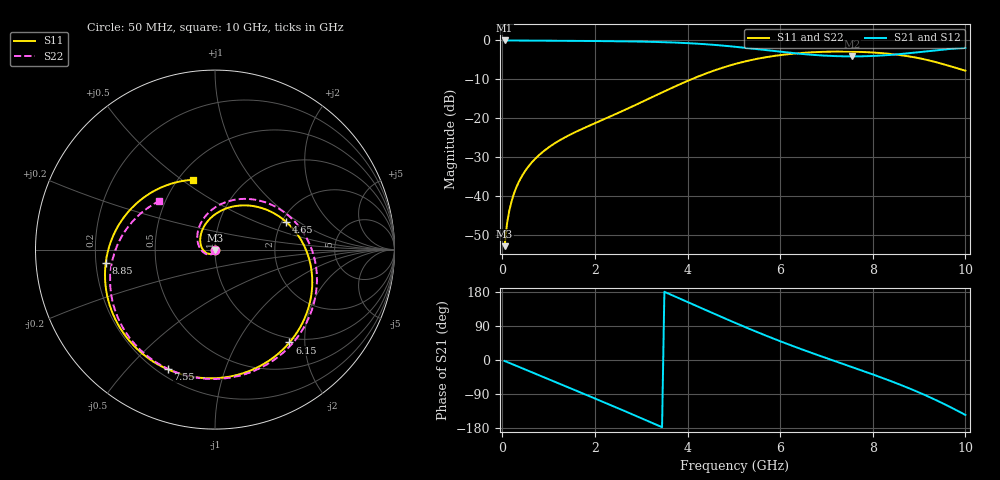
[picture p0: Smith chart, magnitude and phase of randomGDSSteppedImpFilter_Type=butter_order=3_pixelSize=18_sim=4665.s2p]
! freq	dB(S11)	phase(S11)	dB(S12)	phase(S12)
!  dB(S21)	phase(S21)	dB(S22)	phase(S22)
!S-par simulation data
#  GHz  S  DB  R 50
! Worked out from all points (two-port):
!   200 points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, 50 MHz to 10 GHz, reference 50 ohm
!   highest |S21| = 0.00 dB at 50 MHz (marker M1); lowest = -4.1 dB at 7.55 GHz (marker M2)
!   |S21| within 3 dB of the highest: start of sweep to 6.068 GHz; 9.009 GHz to end of sweep
!   lowest |S11| = -53.0 dB at 50 MHz (marker M3), VSWR 1.00, Z = 50 - j0.222 ohm
!   |S11| at or under -10 dB: start of sweep to 4.084 GHz
!   |S22| runs from -53.0 to -2.8 dB; largest |S21 - S12| = 0
!   S11 on the Smith chart (normalised r, x): 50 MHz: 1.00, -0.00; 4.65 GHz: 2.10, +0.80; 6.15 GHz: 0.92, -1.70; 7.55 GHz: 0.24, -0.65; 8.85 GHz: 0.24, -0.06; 10 GHz: 0.59, +0.55
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0.05  -52.98 -80.7  -0.00 -2.6  -0.00 -2.6  -52.99 -80.2
0.1  -47.34 -89.3  -0.01 -5.1  -0.01 -5.1  -47.33 -88.5
0.2  -41.43 -98.2  -0.02 -10.2  -0.02 -10.2  -41.41 -96.6
0.35  -36.59 -108.2  -0.03 -17.8  -0.03 -17.8  -36.58 -105.4
0.5  -33.51 -117.3  -0.04 -25.4  -0.04 -25.4  -33.51 -113.3
1.15  -26.36 -154.4  -0.08 -58.2  -0.08 -58.2  -26.39 -145.2
1.75  -22.64 172.5  -0.13 -88.8  -0.13 -88.8  -22.70 -174.1
2.1  -20.79 153.5  -0.16 -106.7  -0.16 -106.7  -20.86 168.8
2.5  -18.68 132.2  -0.21 -127.3  -0.21 -127.3  -18.76 148.7
2.95  -16.21 108.8  -0.29 -150.8  -0.29 -150.8  -16.28 125.2
3.4  -13.67 85.7  -0.41 -174.7  -0.41 -174.7  -13.73 101.1
3.95  -10.68 57.4  -0.66 155.8  -0.66 155.8  -10.72 70.9
4.65  -7.44 21.5  -1.21 118.1  -1.21 118.1  -7.46 32.4
5.05  -5.99 1.2  -1.66 96.9  -1.66 96.9  -6.00 11.0
5.6  -4.51 -25.7  -2.38 68.9  -2.38 68.9  -4.52 -17.2
6.15  -3.57 -51.3  -3.11 42.6  -3.11 42.6  -3.56 -43.5
6.7  -3.05 -75.4  -3.71 17.8  -3.71 17.8  -3.03 -68.0
7.55  -2.89 -111.5  -4.11 -18.6  -4.11 -18.6  -2.86 -103.8
8.35  -3.44 -147.4  -3.75 -53.8  -3.75 -53.8  -3.39 -137.7
8.85  -4.24 -173.0  -3.21 -78.0  -3.21 -78.0  -4.17 -160.5
9.45  -5.87 150.1  -2.44 -110.7  -2.44 -110.7  -5.75 169.5
10  -7.79 107.5  -1.92 -145.0  -1.92 -145.0  -7.71 138.8
